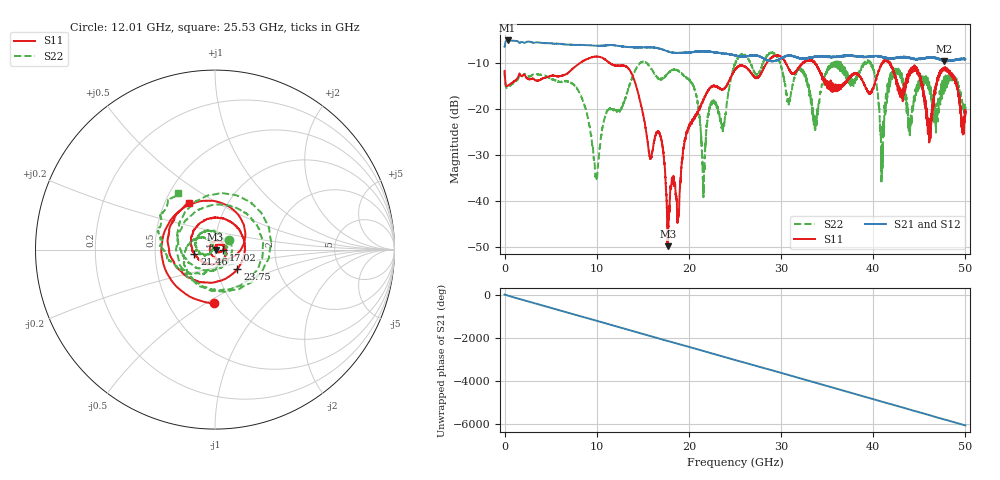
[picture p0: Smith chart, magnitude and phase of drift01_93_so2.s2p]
!Created with skrf (http://scikit-rf.org).
# Hz S RI R 50.0
!freq ReS11 ImS11 ReS21 ImS21 ReS12 ImS12 ReS22 ImS22
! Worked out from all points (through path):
!   10001 points, 300 kHz to 50 GHz, reference 50 ohm
!   highest |S21| = -5.05 dB at 325.3 MHz (marker M1); lowest = -9.6 dB at 47.67 GHz (marker M2)
!   group delay of S21, straight-line fit = 336 ps
!   lowest |S11| = -49.9 dB at 17.7 GHz (marker M3), VSWR 1.01, Z = 50.3 - j0.0721 ohm
!   |S11| at or under -10 dB: start of sweep to 8.166 GHz; 11.43 GHz to 28.43 GHz (17 GHz wide, 85.3 % of centre); 41.81 GHz to end of sweep (the widest 3 of 11)
!   |S22| runs from -39.2 to -7.6 dB; largest |S21 - S12| = 0.016
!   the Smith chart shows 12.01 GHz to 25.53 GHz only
!   S11 on the Smith chart (normalised r, x): 12.01 GHz: 0.83, -0.54; 17.02 GHz: 1.10, -0.00; 21.46 GHz: 0.79, -0.04; 23.75 GHz: 1.25, -0.28; 25.53 GHz: 0.66, +0.38
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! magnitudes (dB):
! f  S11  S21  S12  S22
! 300 kHz  -11.7  -6.4  -6.5  -11.8
! 325.3 MHz  -15.0  -5.1  -5.1  -15.4
! 8.335 GHz  -9.8  -6.0  -6.0  -17.5
! 9.935 GHz  -8.6  -6.2  -6.2  -34.5
! 12.01 GHz  -10.5  -6.2  -6.2  -20.4
! 16.67 GHz  -24.9  -6.7  -6.8  -13.4
! 17.02 GHz  -26.8  -6.9  -6.9  -13.6
! 17.7 GHz  -49.9  -7.4  -7.4  -12.3
! 20.5 GHz  -22.2  -7.5  -7.5  -15.0
! 21.46 GHz  -18.7  -7.4  -7.4  -32.2
! 22.47 GHz  -15.1  -7.6  -7.6  -19.1
! 23.75 GHz  -15.6  -7.8  -7.8  -23.4
! 25 GHz  -11.4  -8.3  -8.4  -10.3
! 25.53 GHz  -10.5  -8.5  -8.5  -8.5
! 33.34 GHz  -9.4  -8.7  -8.7  -19.3
! 39.49 GHz  -16.4  -8.6  -8.6  -10.0
! 40.94 GHz  -10.1  -8.6  -8.7  -29.6
! 41.67 GHz  -9.7  -8.9  -9.0  -15.3
! 44.76 GHz  -11.7  -9.1  -9.1  -15.1
! 46.1 GHz  -24.8  -8.8  -8.8  -14.5
! 47.67 GHz  -11.4  -9.6  -9.5  -14.2
! 50 GHz  -21.2  -9.1  -9.2  -20.4
